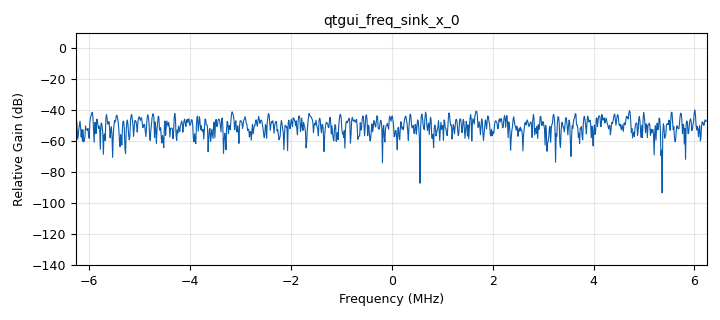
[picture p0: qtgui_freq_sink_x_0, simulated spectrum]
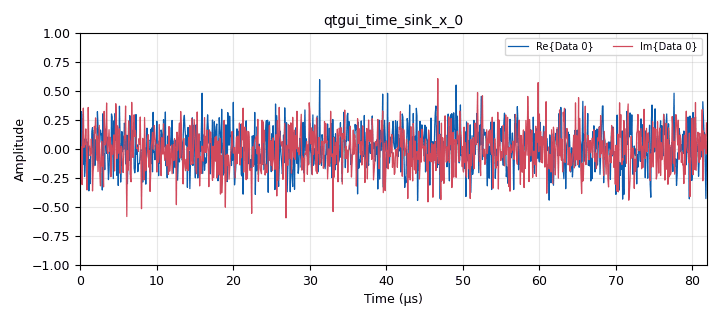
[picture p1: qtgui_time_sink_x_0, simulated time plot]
options:
  parameters:
    author: Nicolas_Murillo_William_Moncada
    copyright: UIS
    generate_options: qt_gui
    id: Practica1_labcomu2_H1
    output_language: python
    title: practicaAnchodeBanda
  states: {}

blocks:
- name: GTX
  id: variable_qtgui_range
  parameters:
    label: Ganancia_TX
    start: '0'
    step: '1'
    stop: '100'
    value: '50'
  states: {}
- name: 'NO'
  id: variable_qtgui_range
  parameters:
    label: Amplitud_ruido
    start: '0.000001'
    step: '0.000001'
    stop: '0.500'
    value: '0.250'
  states: {}
- name: fc
  id: variable_qtgui_range
  parameters:
    label: Frecuencia_Portadora
    start: 50e6
    step: 1e6
    stop: 2.2e9
    value: 100e6
  states: {}
- name: samp_rate
  id: variable
  parameters:
    value: '12500000'
  states: {}
- name: analog_noise_source_x_0
  id: analog_noise_source_x
  parameters:
    amp: 'NO'
    noise_type: analog.GR_GAUSSIAN
    seed: '0'
    type: complex
  states: {}
- name: blocks_throttle_0
  id: blocks_throttle
  parameters:
    samples_per_second: samp_rate
    type: complex
  states: {}
- name: qtgui_freq_sink_x_0
  id: qtgui_freq_sink_x
  parameters:
    bw: samp_rate
    fc: '0'
    fftsize: '1024'
    type: complex
  states: {}
- name: qtgui_time_sink_x_0
  id: qtgui_time_sink_x
  parameters:
    size: '1024'
    srate: samp_rate
    type: complex
  states: {}
- name: uhd_usrp_sink_0
  id: uhd_usrp_sink
  parameters:
    ant0: '"TX/RX"'
    center_freq0: fc
    gain0: GTX
    samp_rate: samp_rate
    sync: pc_clock
    type: fc32
  states: {}

connections:
- [analog_noise_source_x_0, '0', blocks_throttle_0, '0']
- [blocks_throttle_0, '0', qtgui_freq_sink_x_0, '0']
- [blocks_throttle_0, '0', qtgui_time_sink_x_0, '0']
- [blocks_throttle_0, '0', uhd_usrp_sink_0, '0']

metadata:
  file_format: 1
